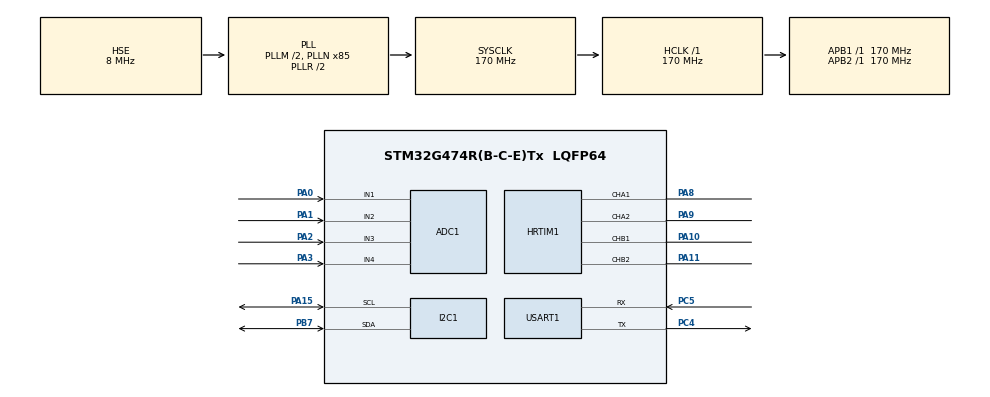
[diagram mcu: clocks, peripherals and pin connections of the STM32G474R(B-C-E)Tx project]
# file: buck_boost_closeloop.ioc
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ADC1.Channel-0\#ChannelRegularConversion=ADC_CHANNEL_1
ADC1.Channel-1\#ChannelRegularConversion=ADC_CHANNEL_2
ADC1.Channel-2\#ChannelRegularConversion=ADC_CHANNEL_3
ADC1.Channel-3\#ChannelRegularConversion=ADC_CHANNEL_4
ADC1.DMAContinuousRequests=ENABLE
ADC1.ExternalTrigConv=ADC_EXTERNALTRIG_HRTIM_TRG1
ADC1.NbrOfConversion=4
ADC1.NbrOfConversionFlag=1
ADC1.OffsetNumber-0\#ChannelRegularConversion=ADC_OFFSET_NONE
ADC1.OffsetNumber-1\#ChannelRegularConversion=ADC_OFFSET_NONE
ADC1.OffsetNumber-2\#ChannelRegularConversion=ADC_OFFSET_NONE
ADC1.OffsetNumber-3\#ChannelRegularConversion=ADC_OFFSET_NONE
ADC1.Rank-0\#ChannelRegularConversion=1
ADC1.Rank-1\#ChannelRegularConversion=2
ADC1.Rank-2\#ChannelRegularConversion=3
ADC1.Rank-3\#ChannelRegularConversion=4
ADC1.SamplingTime-0\#ChannelRegularConversion=ADC_SAMPLETIME_47CYCLES_5
ADC1.SamplingTime-1\#ChannelRegularConversion=ADC_SAMPLETIME_47CYCLES_5
ADC1.SamplingTime-2\#ChannelRegularConversion=ADC_SAMPLETIME_47CYCLES_5
ADC1.SamplingTime-3\#ChannelRegularConversion=ADC_SAMPLETIME_47CYCLES_5
ADC1.master=1
Dma.ADC1.0.Direction=DMA_PERIPH_TO_MEMORY
Dma.ADC1.0.EventEnable=DISABLE
Dma.ADC1.0.Instance=DMA1_Channel1
Dma.ADC1.0.MemDataAlignment=DMA_MDATAALIGN_HALFWORD
Dma.ADC1.0.MemInc=DMA_MINC_ENABLE
Dma.ADC1.0.Mode=DMA_CIRCULAR
Dma.ADC1.0.PeriphDataAlignment=DMA_PDATAALIGN_HALFWORD
Dma.ADC1.0.PeriphInc=DMA_PINC_DISABLE
Dma.ADC1.0.Polarity=HAL_DMAMUX_REQ_GEN_RISING
Dma.ADC1.0.Priority=DMA_PRIORITY_LOW
Dma.ADC1.0.RequestNumber=1
Dma.ADC1.0.SignalID=NONE
Dma.ADC1.0.SyncEnable=DISABLE
Dma.ADC1.0.SyncPolarity=HAL_DMAMUX_SYNC_NO_EVENT
Dma.ADC1.0.SyncRequestNumber=1
Dma.ADC1.0.SyncSignalID=NONE
Dma.Request0=ADC1
HRTIM1.ADCTrigger1_Source1=HRTIM_ADCTRIGGEREVENT13_TIMERA_CMP3
HRTIM1.ADCTrigger_Id1=HRTIM_ADCTRIGGER_1
HRTIM1.CompareUnit1-Output_TA1TA2=HRTIM_COMPAREUNIT_1
HRTIM1.CompareUnit1-Output_TB1TB2=HRTIM_COMPAREUNIT_1
HRTIM1.CompareUnit3-Output_TA1TA2=HRTIM_COMPAREUNIT_3
HRTIM1.CompareUnit3-Output_TB1TB2=HRTIM_COMPAREUNIT_3
HRTIM1.CompareValue1-Output_TA1TA2=2125
HRTIM1.CompareValue1-Output_TB1TB2=2125
HRTIM1.CompareValue3-Output_TA1TA2=1062
HRTIM1.CompareValue3-Output_TB1TB2=2125
HRTIM1.DeadTimeInsertion-Output_TA1TA2=HRTIM_TIMDEADTIMEINSERTION_ENABLED
HRTIM1.DeadTimeInsertion-Output_TB1TB2=HRTIM_TIMDEADTIMEINSERTION_ENABLED
HRTIM1.FallingValue-Output_TA1TA2=34
HRTIM1.FallingValue-Output_TB1TB2=34
HRTIM1.NumberADCTriggerSource1=1
HRTIM1.NumberResetSource1-Output_TA1TA2=1
HRTIM1.NumberResetSource1-Output_TB1TB2=1
HRTIM1.NumberSetSource1-Output_TA1TA2=1
HRTIM1.NumberSetSource1-Output_TB1TB2=1
HRTIM1.ORingUpdateSource_ADCTrigger1=HRTIM_ADCTRIGGERUPDATE_TIMER_A
HRTIM1.Periode_TA=4250
HRTIM1.Periode_TB=4250
HRTIM1.PreloadEnable-Output_TA1TA2=HRTIM_PRELOAD_ENABLED
HRTIM1.PreloadEnable-Output_TB1TB2=HRTIM_PRELOAD_ENABLED
HRTIM1.PrescalerDead-Output_TA1TA2=HRTIM_TIMDEADTIME_PRESCALERRATIO_DIV1
HRTIM1.PrescalerDead-Output_TB1TB2=HRTIM_TIMDEADTIME_PRESCALERRATIO_DIV1
HRTIM1.PrescalerRatio_TA=HRTIM_PRESCALERRATIO_DIV1
HRTIM1.PrescalerRatio_TB=HRTIM_PRESCALERRATIO_DIV1
HRTIM1.RepetitionUpdate-Output_TA1TA2=HRTIM_UPDATEONREPETITION_ENABLED
HRTIM1.RepetitionUpdate-Output_TB1TB2=HRTIM_UPDATEONREPETITION_ENABLED
HRTIM1.ResetOutput1_Source1-Output_TA1TA2=HRTIM_OUTPUTRESET_TIMCMP1
HRTIM1.ResetOutput1_Source1-Output_TB1TB2=HRTIM_OUTPUTRESET_TIMCMP1
HRTIM1.RisingValue-Output_TA1TA2=34
HRTIM1.RisingValue-Output_TB1TB2=34
HRTIM1.SetOutput1_Source1-Output_TA1TA2=HRTIM_OUTPUTSET_TIMCMP1
HRTIM1.SetOutput1_Source1-Output_TB1TB2=HRTIM_OUTPUTSET_TIMCMP1
HRTIM1.UpDownMode-Output_TA1TA2=HRTIM_TIMERUPDOWNMODE_UPDOWN
HRTIM1.UpDownMode-Output_TB1TB2=HRTIM_TIMERUPDOWNMODE_UPDOWN
I2C1.Timing=0x40B285C2
Mcu.Family=STM32G4
Mcu.Name=STM32G474R(B-C-E)Tx
Mcu.Package=LQFP64
NVIC.DMA1_Channel1_IRQn=true\:0\:0\:false\:false\:true\:false\:true\:true
NVIC.PriorityGroup=NVIC_PRIORITYGROUP_4
NVIC.USART1_IRQn=true\:0\:0\:false\:false\:true\:true\:true\:true
PA0.Mode=IN1-Single-Ended
PA0.Signal=ADC1_IN1
PA1.Mode=IN2-Single-Ended
PA1.Signal=ADC1_IN2
PA10.Mode=Output_TB1TB2
PA10.Signal=HRTIM1_CHB1
PA11.Mode=Output_TB1TB2
PA11.Signal=HRTIM1_CHB2
PA13.Mode=Serial_Wire
PA13.Signal=SYS_JTMS-SWDIO
PA14.Mode=Serial_Wire
PA14.Signal=SYS_JTCK-SWCLK
PA15.Mode=I2C
PA15.Signal=I2C1_SCL
PA2.Mode=IN3-Single-Ended
PA2.Signal=ADC1_IN3
PA3.Mode=IN4-Single-Ended
PA3.Signal=ADC1_IN4
PA8.Mode=Output_TA1TA2
PA8.Signal=HRTIM1_CHA1
PA9.Mode=Output_TA1TA2
PA9.Signal=HRTIM1_CHA2
PB7.Mode=I2C
PB7.Signal=I2C1_SDA
PC4.Mode=Asynchronous
PC4.Signal=USART1_TX
PC5.Mode=Asynchronous
PC5.Signal=USART1_RX
PF0-OSC_IN.Mode=HSE-External-Oscillator
PF0-OSC_IN.Signal=RCC_OSC_IN
PF1-OSC_OUT.Mode=HSE-External-Oscillator
PF1-OSC_OUT.Signal=RCC_OSC_OUT
ProjectManager.HeapSize=0x200
ProjectManager.StackSize=0x400
ProjectManager.TargetToolchain=CMake
RCC.ADC12Freq_Value=170000000
RCC.ADC345Freq_Value=170000000
RCC.AHBFreq_Value=170000000
RCC.APB1Freq_Value=170000000
RCC.APB1TimFreq_Value=170000000
RCC.APB2Freq_Value=170000000
RCC.APB2TimFreq_Value=170000000
RCC.CortexFreq_Value=170000000
RCC.EXTERNAL_CLOCK_VALUE=12288000
RCC.HCLKFreq_Value=170000000
RCC.HSE_VALUE=8000000
RCC.HSI48_VALUE=48000000
RCC.HSI_VALUE=16000000
RCC.LSE_VALUE=32768
RCC.PLLM=RCC_PLLM_DIV2
RCC.PLLN=85
RCC.PLLSourceVirtual=RCC_PLLSOURCE_HSE
RCC.SYSCLKFreq_VALUE=170000000
RCC.SYSCLKSource=RCC_SYSCLKSOURCE_PLLCLK
RCC.USBFreq_Value=170000000
RCC.VCOOutputFreq_Value=340000000
USART1.VirtualMode-Asynchronous=VM_ASYNC
VP_SYS_VS_DBSignals.Mode=DisableDeadBatterySignals
board=custom

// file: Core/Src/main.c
/* USER CODE BEGIN Header */
/**
  ******************************************************************************
  * @file           : main.c
  * @brief          : Main program body
  ******************************************************************************
  * @attention
  *
  * Copyright (c) 2026 STMicroelectronics.
  * All rights reserved.
  *
  * This software is licensed under terms that can be found in the LICENSE file
  * in the root directory of this software component.
  * If no LICENSE file comes with this software, it is provided AS-IS.
  *
  ******************************************************************************
  */
/* USER CODE END Header */
#include "main.h"

/* USER CODE BEGIN Includes */
#include "adc_sampler.h"
#include "hrtim_pwm.h"
#include "oled.h"
#include "power_pid.h"
#include "uart_debug.h"
/* USER CODE END Includes */

/* USER CODE BEGIN PTD */
/* ADC 通道下标，顺序必须与 CubeMX 的 Rank1..Rank4 一致 */
enum
{
  CH_VIN = 0,
  CH_VOUT,
  CH_IL,
  CH_IOUT
};
/* USER CODE END PTD */

/* USER CODE BEGIN PD */

/* 开关频率：HRTIM 170MHz / (2 * 4250)，Up-Down 模式 */
#define PWM_FREQ_HZ       20000.0f
/* 控制频率 = ADC 触发频率。上电后请用空闲 GPIO 实测确认，再据此整定 Ki。 */
#define CTRL_DT           (1.0f / PWM_FREQ_HZ)

/* 占空比边界（都是“该桥臂上管”的占空比） */
#define DUTY_MIN          0.02f
#define DUTY_MAX          0.98f
/* 直通桥臂：上管常通 */
#define DUTY_PASS         1.00f

/* 输出电压目标与软启动 */
#define VOUT_REF_DEFAULT  24.0f
#define VOUT_REF_MIN      3.0f
#define VOUT_REF_MAX      40.0f
#define SOFT_START_STEP   0.010f    /* V/控制周期，20kHz 下约 185V/s */
#define VIN_MIN_VALID     6.0f

/* PI：Ki 是“每控制周期”的积分系数，控制频率一变就要重新整定 */
#define PI_KP             0.050f
#define PI_KI             0.0015f

/* 保护阈值 */
#define OVP_LIMIT_V       42.0f
#define OCP_LIMIT_A       12.0f

/* ---------------------------------------------------------------------------
 * ADC 原始值 -> 工程量的线性拟合：   y = K * raw + b
 *
 * 板上没有标准电压/电流源，K 和 b 现在测不出来，所以下面先放着占位值
 * （K=1、b=0 表示"还没做任何标定"）。标定完成前，所有工程量以及依赖它们的
 * 保护阈值都不可信。
 *
 * 两点标定法：
 *   1) 上电运行，串口发 `c`，读出某个工作点的原始值 raw1，同时用万用表量真实值 V1；
 *   2) 换个工作点（两点尽量拉开），读出 raw2 和 V2；
 *   3) K = (V1 - V2) / (raw1 - raw2)
 *      b = V1 - K * raw1
 *   4) 把算出的 K / b 填回下面，并把 CALIBRATED 改成 1。
 * ------------------------------------------------------------------------- */
#define VIN_K             1.0f
#define VIN_B             0.0f
#define VOUT_K            1.0f
#define VOUT_B            0.0f
#define IL_K              1.0f
#define IL_B              0.0f
#define IOUT_K            1.0f
#define IOUT_B            0.0f

/*
 * 标定开关。K/b 还是占位值时闭环没有意义：反馈算错，PI 会把占空比推到极限。
 * 所以默认 0 —— 拒绝使能，只让你看原始值、记录标定点。
 * 标定完改成 1（也可以在构建时用 -DCALIBRATED=1 覆盖）。
 */
#ifndef CALIBRATED
#define CALIBRATED        0
#endif

/* 采样：帧数 1 表示一次触发的全部 Rank 算一帧 */
#define ADC_FRAME_COUNT   1U
#define ADC_CH_COUNT      4U
#define UART_TX_SIZE      256U

/* USER CODE END PD */

ADC_HandleTypeDef hadc1;
DMA_HandleTypeDef hdma_adc1;

HRTIM_HandleTypeDef hhrtim1;

I2C_HandleTypeDef hi2c1;

UART_HandleTypeDef huart1;

/* USER CODE BEGIN PV */

/*
 * ADC 通道顺序必须与 CubeMX 中 ADC1 的 Rank1..Rank4 一致：
 *   Rank1 PA0  IN1 VIN    Rank2 PA1  IN2 VOUT
 *   Rank3 PA2  IN3 IL     Rank4 PA3  IN4 IOUT
 *
 * 这里把 scale 固定成 1、offset 固定成 0，让 AdcSampler 只干两件事：
 * 取原始值、做一阶低通。原始值到工程量的拟合交给本文件里的 K/b（见 PD 区），
 * 这样"标定数据未知"在代码里是显式的，不会藏在一堆看着很权威的系数里。
 *
 * lpf_alpha = dt/(tau+dt)，dt = 50us（20kHz 控制周期）
 * 最后一个成员 lpf 由 AdcSampler_Init 按 lpf_alpha 重新初始化，这里填 0 即可。
 */
static const AdcSamplerChannel g_adc_ch[ADC_CH_COUNT] =
{
    { 1.0f, 0.0f, 0.048f, { 0 } },  /* VIN  低通 tau≈1ms   */
    { 1.0f, 0.0f, 0.091f, { 0 } },  /* VOUT 低通 tau≈0.5ms */
    { 1.0f, 0.0f, 0.333f, { 0 } },  /* IL   低通 tau≈0.1ms */
    { 1.0f, 0.0f, 0.091f, { 0 } }   /* IOUT 低通 tau≈0.5ms */
};

/*
 * 两个桥臂各占一个 HRTIM Timer，互补输出 + 死区（CubeMX 配 34 计数 = 200ns）。
 * configure_waveform=1 让模块把输出边沿改写成 Set=TIMPER / Reset=TIMCMP1：
 * CubeMX 生成的是 Set=Reset=TIMCMP1，直接用会得不到正常波形。
 */
static const HrtimPwmChannelCfg g_pwm_cfg[2] =
{
    /* Q1/Q2 降压桥臂 */
    { HRTIM_TIMERINDEX_TIMER_A, HRTIM_TIMERID_TIMER_A,
      HRTIM_OUTPUT_TA1, HRTIM_OUTPUT_TA2, 1U, DUTY_MIN, DUTY_MIN, DUTY_MAX },
    /* Q3/Q4 升压桥臂 */
    { HRTIM_TIMERINDEX_TIMER_B, HRTIM_TIMERID_TIMER_B,
      HRTIM_OUTPUT_TB1, HRTIM_OUTPUT_TB2, 1U, DUTY_MIN, DUTY_MIN, DUTY_MAX }
};

static uint16_t g_adc_dma[ADC_FRAME_COUNT * ADC_CH_COUNT];
static uint8_t g_uart_tx[UART_TX_SIZE];

static AdcSampler g_adc;
static HrtimPwm g_pwm;
static UartDebug g_uart;
static Oled g_oled;
static Pid g_vout_pi;

/* 控制回调与主循环共享的状态，全部用 32 位以内类型，单次访问即原子 */
static volatile float g_vin_raw;   /* 低通后的 ADC 原始值，标定时读这几个 */
static volatile float g_vout_raw;
static volatile float g_il_raw;
static volatile float g_iout_raw;
static volatile float g_vin;       /* 用 K/b 拟合出来的工程量 */
static volatile float g_vout;
static volatile float g_il;
static volatile float g_iout;
static volatile float g_vout_ref = VOUT_REF_DEFAULT;
static volatile uint32_t g_isr_count;
static volatile uint8_t g_run;    /* 0=封波 1=运行 */
static volatile uint8_t g_cmd;    /* 主循环下请求，统一在控制回调里执行 */
static float g_ref_ramp;          /* 软启动给定，只在控制回调里改 */
static uint32_t g_disp_tick;

/* USER CODE END PV */

void SystemClock_Config(void);
static void MX_GPIO_Init(void);
static void MX_DMA_Init(void);
static void MX_ADC1_Init(void);
static void MX_HRTIM1_Init(void);
static void MX_I2C1_Init(void);
static void MX_USART1_UART_Init(void);
/* USER CODE BEGIN PFP */
static void bb_start(void);
static void bb_stop(void);
static void bb_control(void);
static void poll_command(void);
static void oled_update(void);
static void print_telemetry(void);
static void print_calibration(void);
/* USER CODE END PFP */

int main(void)
{

  /* MCU Configuration--------------------------------------------------------*/

  /* Reset of all peripherals, Initializes the Flash interface and the Systick. */
  HAL_Init();

  /* Configure the system clock */
  SystemClock_Config();

  /* Initialize all configured peripherals */
  MX_GPIO_Init();
  MX_DMA_Init();
  MX_ADC1_Init();
  MX_HRTIM1_Init();
  MX_I2C1_Init();
  MX_USART1_UART_Init();
  /* USER CODE BEGIN 2 */

  /* 1) 串口调试。USART1 全局中断和优先级由 CubeMX 生成在 HAL_UART_MspInit 里，
        这里只把模块接上句柄和缓冲区。 */
  UartDebug_Init(&g_uart, &huart1, g_uart_tx, UART_TX_SIZE);

  /* 2) PWM：写安全占空比 -> 同步预装载 -> 起计数器 -> 立刻封波。
        计数器保持运行，ADC 触发和控制节拍才不会断。 */
  HrtimPwm_Init(&g_pwm, &hhrtim1, g_pwm_cfg, 2U);
  HrtimPwm_SetDuty(&g_pwm, 0U, DUTY_MIN);
  HrtimPwm_SetDuty(&g_pwm, 1U, DUTY_MIN);
  HrtimPwm_SyncPreload(&g_pwm);
  HrtimPwm_StartAll(&g_pwm);
  HrtimPwm_DisableOutputs(&g_pwm);

  /* 3) 控制器与显示 */
  Pid_Init(&g_vout_pi, PI_KP, PI_KI, DUTY_MIN, DUTY_MAX);

  Oled_Init(&g_oled, &hi2c1, OLED_ADDR_DEFAULT);
  Oled_ShowString(&g_oled, 0U, 0U, "4SW Buck-Boost");
  Oled_ShowString(&g_oled, 0U, 6U, "STOP");

  /* 4) ADC 最后启动：校准必须在启动 DMA 之前，控制回调也从这里开始跑 */
  HAL_ADCEx_Calibration_Start(&hadc1, ADC_SINGLE_ENDED);
  AdcSampler_Init(&g_adc, &hadc1, g_adc_dma, ADC_FRAME_COUNT, ADC_CH_COUNT, g_adc_ch);
  AdcSampler_Start(&g_adc);

#if (CALIBRATED == 0)
  UartDebug_WriteString(&g_uart,
                        "\r\n[buck-boost closeloop] K/b 未标定，闭环已锁定。\r\n"
                        "  发 c 记录两点原始值，算好 K/b 后把 main.c 的 CALIBRATED 改成 1。\r\n"
                        "  cmds: c d + -   (e 暂不可用)\r\n");
#else
  UartDebug_WriteString(&g_uart,
                        "\r\n[buck-boost closeloop] ready. cmds: e d + - c\r\n");
#endif

  /* USER CODE END 2 */

  /* Infinite loop */
  while (1)
  {

    /* USER CODE BEGIN 3 */
    /* 主循环只做非实时的事：串口收发、命令解析、刷屏和遥测。
       控制环在 ADC DMA 完成回调里，不在这里。 */
    UartDebug_Process(&g_uart);
    poll_command();

    if ((HAL_GetTick() - g_disp_tick) >= 200U)
    {
      g_disp_tick = HAL_GetTick();
      oled_update();
      print_telemetry();
    }
  }
  /* USER CODE END 3 */
}

void SystemClock_Config(void)
{
  RCC_OscInitTypeDef RCC_OscInitStruct = {0};
  RCC_ClkInitTypeDef RCC_ClkInitStruct = {0};

  /** Configure the main internal regulator output voltage
  */
  HAL_PWREx_ControlVoltageScaling(PWR_REGULATOR_VOLTAGE_SCALE1_BOOST);

  /** Initializes the RCC Oscillators according to the specified parameters
  * in the RCC_OscInitTypeDef structure.
  */
  RCC_OscInitStruct.OscillatorType = RCC_OSCILLATORTYPE_HSE;
  RCC_OscInitStruct.HSEState = RCC_HSE_ON;
  RCC_OscInitStruct.PLL.PLLState = RCC_PLL_ON;
  RCC_OscInitStruct.PLL.PLLSource = RCC_PLLSOURCE_HSE;
  RCC_OscInitStruct.PLL.PLLM = RCC_PLLM_DIV2;
  RCC_OscInitStruct.PLL.PLLN = 85;
  RCC_OscInitStruct.PLL.PLLP = RCC_PLLP_DIV2;
  RCC_OscInitStruct.PLL.PLLQ = RCC_PLLQ_DIV2;
  RCC_OscInitStruct.PLL.PLLR = RCC_PLLR_DIV2;
  if (HAL_RCC_OscConfig(&RCC_OscInitStruct) != HAL_OK)
  {
    Error_Handler();
  }

  /** Initializes the CPU, AHB and APB buses clocks
  */
  RCC_ClkInitStruct.ClockType = RCC_CLOCKTYPE_HCLK|RCC_CLOCKTYPE_SYSCLK
                              |RCC_CLOCKTYPE_PCLK1|RCC_CLOCKTYPE_PCLK2;
  RCC_ClkInitStruct.SYSCLKSource = RCC_SYSCLKSOURCE_PLLCLK;
  RCC_ClkInitStruct.AHBCLKDivider = RCC_SYSCLK_DIV1;
  RCC_ClkInitStruct.APB1CLKDivider = RCC_HCLK_DIV1;
  RCC_ClkInitStruct.APB2CLKDivider = RCC_HCLK_DIV1;

  if (HAL_RCC_ClockConfig(&RCC_ClkInitStruct, FLASH_LATENCY_4) != HAL_OK)
  {
    Error_Handler();
  }
}

static void MX_ADC1_Init(void)
{

  ADC_MultiModeTypeDef multimode = {0};
  ADC_ChannelConfTypeDef sConfig = {0};

  /** Common config
  */
  hadc1.Instance = ADC1;
  hadc1.Init.ClockPrescaler = ADC_CLOCK_SYNC_PCLK_DIV4;
  hadc1.Init.Resolution = ADC_RESOLUTION_12B;
  hadc1.Init.DataAlign = ADC_DATAALIGN_RIGHT;
  hadc1.Init.GainCompensation = 0;
  hadc1.Init.ScanConvMode = ADC_SCAN_ENABLE;
  hadc1.Init.EOCSelection = ADC_EOC_SINGLE_CONV;
  hadc1.Init.LowPowerAutoWait = DISABLE;
  hadc1.Init.ContinuousConvMode = DISABLE;
  hadc1.Init.NbrOfConversion = 4;
  hadc1.Init.DiscontinuousConvMode = DISABLE;
  hadc1.Init.ExternalTrigConv = ADC_EXTERNALTRIG_HRTIM_TRG1;
  hadc1.Init.ExternalTrigConvEdge = ADC_EXTERNALTRIGCONVEDGE_RISING;
  hadc1.Init.DMAContinuousRequests = ENABLE;
  hadc1.Init.Overrun = ADC_OVR_DATA_PRESERVED;
  hadc1.Init.OversamplingMode = DISABLE;
  if (HAL_ADC_Init(&hadc1) != HAL_OK)
  {
    Error_Handler();
  }

  /** Configure the ADC multi-mode
  */
  multimode.Mode = ADC_MODE_INDEPENDENT;
  if (HAL_ADCEx_MultiModeConfigChannel(&hadc1, &multimode) != HAL_OK)
  {
    Error_Handler();
  }

  /** Configure Regular Channel
  */
  sConfig.Channel = ADC_CHANNEL_1;
  sConfig.Rank = ADC_REGULAR_RANK_1;
  sConfig.SamplingTime = ADC_SAMPLETIME_47CYCLES_5;
  sConfig.SingleDiff = ADC_SINGLE_ENDED;
  sConfig.OffsetNumber = ADC_OFFSET_NONE;
  sConfig.Offset = 0;
  if (HAL_ADC_ConfigChannel(&hadc1, &sConfig) != HAL_OK)
  {
    Error_Handler();
  }

  /** Configure Regular Channel
  */
  sConfig.Channel = ADC_CHANNEL_2;
  sConfig.Rank = ADC_REGULAR_RANK_2;
  if (HAL_ADC_ConfigChannel(&hadc1, &sConfig) != HAL_OK)
  {
    Error_Handler();
  }

  /** Configure Regular Channel
  */
  sConfig.Channel = ADC_CHANNEL_3;
  sConfig.Rank = ADC_REGULAR_RANK_3;
  if (HAL_ADC_ConfigChannel(&hadc1, &sConfig) != HAL_OK)
  {
    Error_Handler();
  }

  /** Configure Regular Channel
  */
  sConfig.Channel = ADC_CHANNEL_4;
  sConfig.Rank = ADC_REGULAR_RANK_4;
  if (HAL_ADC_ConfigChannel(&hadc1, &sConfig) != HAL_OK)
  {
    Error_Handler();
  }

}

static void MX_HRTIM1_Init(void)
{

  HRTIM_ADCTriggerCfgTypeDef pADCTriggerCfg = {0};
  HRTIM_TimeBaseCfgTypeDef pTimeBaseCfg = {0};
  HRTIM_TimerCtlTypeDef pTimerCtl = {0};
  HRTIM_TimerCfgTypeDef pTimerCfg = {0};
  HRTIM_CompareCfgTypeDef pCompareCfg = {0};
  HRTIM_DeadTimeCfgTypeDef pDeadTimeCfg = {0};
  HRTIM_OutputCfgTypeDef pOutputCfg = {0};

  hhrtim1.Instance = HRTIM1;
  hhrtim1.Init.HRTIMInterruptResquests = HRTIM_IT_NONE;
  hhrtim1.Init.SyncOptions = HRTIM_SYNCOPTION_NONE;
  if (HAL_HRTIM_Init(&hhrtim1) != HAL_OK)
  {
    Error_Handler();
  }
  if (HAL_HRTIM_DLLCalibrationStart(&hhrtim1, HRTIM_CALIBRATIONRATE_3) != HAL_OK)
  {
    Error_Handler();
  }
  if (HAL_HRTIM_PollForDLLCalibration(&hhrtim1, 10) != HAL_OK)
  {
    Error_Handler();
  }
  pADCTriggerCfg.UpdateSource = HRTIM_ADCTRIGGERUPDATE_TIMER_A;
  pADCTriggerCfg.Trigger = HRTIM_ADCTRIGGEREVENT13_TIMERA_CMP3;
  if (HAL_HRTIM_ADCTriggerConfig(&hhrtim1, HRTIM_ADCTRIGGER_1, &pADCTriggerCfg) != HAL_OK)
  {
    Error_Handler();
  }
  if (HAL_HRTIM_ADCPostScalerConfig(&hhrtim1, HRTIM_ADCTRIGGER_1, 0x0) != HAL_OK)
  {
    Error_Handler();
  }
  pTimeBaseCfg.Period = 4250;
  pTimeBaseCfg.RepetitionCounter = 0x00;
  pTimeBaseCfg.PrescalerRatio = HRTIM_PRESCALERRATIO_DIV1;
  pTimeBaseCfg.Mode = HRTIM_MODE_CONTINUOUS;
  if (HAL_HRTIM_TimeBaseConfig(&hhrtim1, HRTIM_TIMERINDEX_TIMER_A, &pTimeBaseCfg) != HAL_OK)
  {
    Error_Handler();
  }
  pTimerCtl.UpDownMode = HRTIM_TIMERUPDOWNMODE_UPDOWN;
  pTimerCtl.GreaterCMP3 = HRTIM_TIMERGTCMP3_EQUAL;
  pTimerCtl.GreaterCMP1 = HRTIM_TIMERGTCMP1_EQUAL;
  pTimerCtl.DualChannelDacEnable = HRTIM_TIMER_DCDE_DISABLED;
  if (HAL_HRTIM_WaveformTimerControl(&hhrtim1, HRTIM_TIMERINDEX_TIMER_A, &pTimerCtl) != HAL_OK)
  {
    Error_Handler();
  }
  if (HAL_HRTIM_RollOverModeConfig(&hhrtim1, HRTIM_TIMERINDEX_TIMER_A, HRTIM_TIM_FEROM_BOTH|HRTIM_TIM_BMROM_BOTH
                              |HRTIM_TIM_ADROM_BOTH|HRTIM_TIM_OUTROM_BOTH
                              |HRTIM_TIM_ROM_BOTH) != HAL_OK)
  {
    Error_Handler();
  }
  pTimerCfg.InterruptRequests = HRTIM_TIM_IT_NONE;
  pTimerCfg.DMARequests = HRTIM_TIM_DMA_NONE;
  pTimerCfg.DMASrcAddress = 0x0000;
  pTimerCfg.DMADstAddress = 0x0000;
  pTimerCfg.DMASize = 0x1;
  pTimerCfg.HalfModeEnable = HRTIM_HALFMODE_DISABLED;
  pTimerCfg.InterleavedMode = HRTIM_INTERLEAVED_MODE_DISABLED;
  pTimerCfg.StartOnSync = HRTIM_SYNCSTART_DISABLED;
  pTimerCfg.ResetOnSync = HRTIM_SYNCRESET_DISABLED;
  pTimerCfg.DACSynchro = HRTIM_DACSYNC_NONE;
  pTimerCfg.PreloadEnable = HRTIM_PRELOAD_ENABLED;
  pTimerCfg.UpdateGating = HRTIM_UPDATEGATING_INDEPENDENT;
  pTimerCfg.BurstMode = HRTIM_TIMERBURSTMODE_MAINTAINCLOCK;
  pTimerCfg.RepetitionUpdate = HRTIM_UPDATEONREPETITION_ENABLED;
  pTimerCfg.PushPull = HRTIM_TIMPUSHPULLMODE_DISABLED;
  pTimerCfg.FaultEnable = HRTIM_TIMFAULTENABLE_NONE;
  pTimerCfg.FaultLock = HRTIM_TIMFAULTLOCK_READWRITE;
  pTimerCfg.DeadTimeInsertion = HRTIM_TIMDEADTIMEINSERTION_ENABLED;
  pTimerCfg.DelayedProtectionMode = HRTIM_TIMER_A_B_C_DELAYEDPROTECTION_DISABLED;
  pTimerCfg.UpdateTrigger = HRTIM_TIMUPDATETRIGGER_NONE;
  pTimerCfg.ResetTrigger = HRTIM_TIMRESETTRIGGER_NONE;
  pTimerCfg.ResetUpdate = HRTIM_TIMUPDATEONRESET_DISABLED;
  pTimerCfg.ReSyncUpdate = HRTIM_TIMERESYNC_UPDATE_UNCONDITIONAL;
  if (HAL_HRTIM_WaveformTimerConfig(&hhrtim1, HRTIM_TIMERINDEX_TIMER_A, &pTimerCfg) != HAL_OK)
  {
    Error_Handler();
  }
  if (HAL_HRTIM_WaveformTimerConfig(&hhrtim1, HRTIM_TIMERINDEX_TIMER_B, &pTimerCfg) != HAL_OK)
  {
    Error_Handler();
  }
  pCompareCfg.CompareValue = 2125;
  if (HAL_HRTIM_WaveformCompareConfig(&hhrtim1, HRTIM_TIMERINDEX_TIMER_A, HRTIM_COMPAREUNIT_1, &pCompareCfg) != HAL_OK)
  {
    Error_Handler();
  }
  pCompareCfg.CompareValue = 1062;
  if (HAL_HRTIM_WaveformCompareConfig(&hhrtim1, HRTIM_TIMERINDEX_TIMER_A, HRTIM_COMPAREUNIT_3, &pCompareCfg) != HAL_OK)
  {
    Error_Handler();
  }
  pDeadTimeCfg.Prescaler = HRTIM_TIMDEADTIME_PRESCALERRATIO_DIV1;
  pDeadTimeCfg.RisingValue = 34;
  pDeadTimeCfg.RisingSign = HRTIM_TIMDEADTIME_RISINGSIGN_POSITIVE;
  pDeadTimeCfg.RisingLock = HRTIM_TIMDEADTIME_RISINGLOCK_WRITE;
  pDeadTimeCfg.RisingSignLock = HRTIM_TIMDEADTIME_RISINGSIGNLOCK_WRITE;
  pDeadTimeCfg.FallingValue = 34;
  pDeadTimeCfg.FallingSign = HRTIM_TIMDEADTIME_FALLINGSIGN_POSITIVE;
  pDeadTimeCfg.FallingLock = HRTIM_TIMDEADTIME_FALLINGLOCK_WRITE;
  pDeadTimeCfg.FallingSignLock = HRTIM_TIMDEADTIME_FALLINGSIGNLOCK_WRITE;
  if (HAL_HRTIM_DeadTimeConfig(&hhrtim1, HRTIM_TIMERINDEX_TIMER_A, &pDeadTimeCfg) != HAL_OK)
  {
    Error_Handler();
  }
  if (HAL_HRTIM_DeadTimeConfig(&hhrtim1, HRTIM_TIMERINDEX_TIMER_B, &pDeadTimeCfg) != HAL_OK)
  {
    Error_Handler();
  }
  pOutputCfg.Polarity = HRTIM_OUTPUTPOLARITY_HIGH;
  pOutputCfg.SetSource = HRTIM_OUTPUTSET_TIMCMP1;
  pOutputCfg.ResetSource = HRTIM_OUTPUTRESET_TIMCMP1;
  pOutputCfg.IdleMode = HRTIM_OUTPUTIDLEMODE_NONE;
  pOutputCfg.IdleLevel = HRTIM_OUTPUTIDLELEVEL_INACTIVE;
  pOutputCfg.FaultLevel = HRTIM_OUTPUTFAULTLEVEL_NONE;
  pOutputCfg.ChopperModeEnable = HRTIM_OUTPUTCHOPPERMODE_DISABLED;
  pOutputCfg.BurstModeEntryDelayed = HRTIM_OUTPUTBURSTMODEENTRY_REGULAR;
  if (HAL_HRTIM_WaveformOutputConfig(&hhrtim1, HRTIM_TIMERINDEX_TIMER_A, HRTIM_OUTPUT_TA1, &pOutputCfg) != HAL_OK)
  {
    Error_Handler();
  }
  if (HAL_HRTIM_WaveformOutputConfig(&hhrtim1, HRTIM_TIMERINDEX_TIMER_B, HRTIM_OUTPUT_TB1, &pOutputCfg) != HAL_OK)
  {
    Error_Handler();
  }
  pOutputCfg.SetSource = HRTIM_OUTPUTSET_NONE;
  pOutputCfg.ResetSource = HRTIM_OUTPUTRESET_NONE;
  if (HAL_HRTIM_WaveformOutputConfig(&hhrtim1, HRTIM_TIMERINDEX_TIMER_A, HRTIM_OUTPUT_TA2, &pOutputCfg) != HAL_OK)
  {
    Error_Handler();
  }
  if (HAL_HRTIM_WaveformOutputConfig(&hhrtim1, HRTIM_TIMERINDEX_TIMER_B, HRTIM_OUTPUT_TB2, &pOutputCfg) != HAL_OK)
  {
    Error_Handler();
  }
  if (HAL_HRTIM_TimeBaseConfig(&hhrtim1, HRTIM_TIMERINDEX_TIMER_B, &pTimeBaseCfg) != HAL_OK)
  {
    Error_Handler();
  }
  if (HAL_HRTIM_WaveformTimerControl(&hhrtim1, HRTIM_TIMERINDEX_TIMER_B, &pTimerCtl) != HAL_OK)
  {
    Error_Handler();
  }
  if (HAL_HRTIM_RollOverModeConfig(&hhrtim1, HRTIM_TIMERINDEX_TIMER_B, HRTIM_TIM_FEROM_BOTH|HRTIM_TIM_BMROM_BOTH
                              |HRTIM_TIM_ADROM_BOTH|HRTIM_TIM_OUTROM_BOTH
                              |HRTIM_TIM_ROM_BOTH) != HAL_OK)
  {
    Error_Handler();
  }
  pCompareCfg.CompareValue = 2125;
  if (HAL_HRTIM_WaveformCompareConfig(&hhrtim1, HRTIM_TIMERINDEX_TIMER_B, HRTIM_COMPAREUNIT_1, &pCompareCfg) != HAL_OK)
  {
    Error_Handler();
  }
  if (HAL_HRTIM_WaveformCompareConfig(&hhrtim1, HRTIM_TIMERINDEX_TIMER_B, HRTIM_COMPAREUNIT_3, &pCompareCfg) != HAL_OK)
  {
    Error_Handler();
  }
  HAL_HRTIM_MspPostInit(&hhrtim1);

}

static void MX_I2C1_Init(void)
{

  hi2c1.Instance = I2C1;
  hi2c1.Init.Timing = 0x40B285C2;
  hi2c1.Init.OwnAddress1 = 0;
  hi2c1.Init.AddressingMode = I2C_ADDRESSINGMODE_7BIT;
  hi2c1.Init.DualAddressMode = I2C_DUALADDRESS_DISABLE;
  hi2c1.Init.OwnAddress2 = 0;
  hi2c1.Init.OwnAddress2Masks = I2C_OA2_NOMASK;
  hi2c1.Init.GeneralCallMode = I2C_GENERALCALL_DISABLE;
  hi2c1.Init.NoStretchMode = I2C_NOSTRETCH_DISABLE;
  if (HAL_I2C_Init(&hi2c1) != HAL_OK)
  {
    Error_Handler();
  }

  /** Configure Analogue filter
  */
  if (HAL_I2CEx_ConfigAnalogFilter(&hi2c1, I2C_ANALOGFILTER_ENABLE) != HAL_OK)
  {
    Error_Handler();
  }

  /** Configure Digital filter
  */
  if (HAL_I2CEx_ConfigDigitalFilter(&hi2c1, 0) != HAL_OK)
  {
    Error_Handler();
  }

}

static void MX_USART1_UART_Init(void)
{

  huart1.Instance = USART1;
  huart1.Init.BaudRate = 115200;
  huart1.Init.WordLength = UART_WORDLENGTH_8B;
  huart1.Init.StopBits = UART_STOPBITS_1;
  huart1.Init.Parity = UART_PARITY_NONE;
  huart1.Init.Mode = UART_MODE_TX_RX;
  huart1.Init.HwFlowCtl = UART_HWCONTROL_NONE;
  huart1.Init.OverSampling = UART_OVERSAMPLING_16;
  huart1.Init.OneBitSampling = UART_ONE_BIT_SAMPLE_DISABLE;
  huart1.Init.ClockPrescaler = UART_PRESCALER_DIV1;
  huart1.AdvancedInit.AdvFeatureInit = UART_ADVFEATURE_NO_INIT;
  if (HAL_UART_Init(&huart1) != HAL_OK)
  {
    Error_Handler();
  }
  if (HAL_UARTEx_SetTxFifoThreshold(&huart1, UART_TXFIFO_THRESHOLD_1_8) != HAL_OK)
  {
    Error_Handler();
  }
  if (HAL_UARTEx_SetRxFifoThreshold(&huart1, UART_RXFIFO_THRESHOLD_1_8) != HAL_OK)
  {
    Error_Handler();
  }
  if (HAL_UARTEx_DisableFifoMode(&huart1) != HAL_OK)
  {
    Error_Handler();
  }

}

static void MX_DMA_Init(void)
{

  /* DMA controller clock enable */
  __HAL_RCC_DMAMUX1_CLK_ENABLE();
  __HAL_RCC_DMA1_CLK_ENABLE();

  /* DMA interrupt init */
  /* DMA1_Channel1_IRQn interrupt configuration */
  HAL_NVIC_SetPriority(DMA1_Channel1_IRQn, 0, 0);
  HAL_NVIC_EnableIRQ(DMA1_Channel1_IRQn);

}

static void MX_GPIO_Init(void)
{

  /* GPIO Ports Clock Enable */
  __HAL_RCC_GPIOF_CLK_ENABLE();
  __HAL_RCC_GPIOA_CLK_ENABLE();
  __HAL_RCC_GPIOC_CLK_ENABLE();
  __HAL_RCC_GPIOB_CLK_ENABLE();

}

/* USER CODE BEGIN 4 */

/* ---------------------------------------------------------------------------
 * 四开关 Buck-Boost 控制
 *
 *   Vin --Q1-- SW1 --L-- SW2 --Q3-- Vout
 *                |           |
 *               Q2          Q4
 *                |           |
 *               GND         GND
 *
 * 两个桥臂都是互补输出 + 死区。“占空比”统一指该桥臂上管的导通占空比：
 *   dA = Q1 占空比（Timer A / CMP1）,  dB = Q3 占空比（Timer B / CMP1）
 *
 * 单模式：两个桥臂始终同占空比 d，则
 *   vout = vin * d / (1 - d)     =>   稳态  d = vout / (vin + vout)
 * d > 0.5 升压、d < 0.5 降压，一套 PI 覆盖全范围，控制量全程连续，
 * 不需要区间判断，也不会在边界跳变。
 * 代价是两个桥臂一直在开关，效率低于“降压区只开 buck 桥臂”的分区方案。
 * 要提效率时按 vin/vref 分三个区间分别映射占空比，并给每个区间单独整定增益。
 * ------------------------------------------------------------------------- */

static void bb_start(void)
{
#if (CALIBRATED == 0)
  /* K/b 还是占位值，反馈量没有物理意义，闭环不能使能。
     提示信息由命令处理在主循环里给，这里只安静地拒绝（本函数在中断里跑）。 */
  return;
#else
  Pid_Reset(&g_vout_pi);
  g_ref_ramp = 0.0f;

  /* 无扰使能：用稳态关系把 PI 输出摆到工作点附近，避免从 0 慢慢积分 */
  if (g_vin > 0.0f)
  {
    Pid_SetOutput(&g_vout_pi, g_vout_ref / (g_vin + g_vout_ref));
  }

  HrtimPwm_EnableOutputs(&g_pwm);
  g_run = 1U;
#endif
}

static void bb_stop(void)
{
  g_run = 0U;
  g_ref_ramp = 0.0f;

  HrtimPwm_SetDuty(&g_pwm, 0U, DUTY_MIN);
  HrtimPwm_SetDuty(&g_pwm, 1U, DUTY_MIN);
  HrtimPwm_DisableOutputs(&g_pwm);
}

static void bb_control(void)
{
  float u;

  g_isr_count++;

  /* 保护：任一越限立即封波。只关输出、不停计数器，控制回调继续跑，
     这样才能自己判断故障有没有消失。 */
  if ((g_vout > OVP_LIMIT_V) || (g_il > OCP_LIMIT_A) || (g_il < -OCP_LIMIT_A))
  {
    if (g_run != 0U)
    {
      bb_stop();
    }
    return;
  }

  /* 主循环下发的使能/关断请求在这里执行，避免两个上下文同时改状态 */
  if (g_cmd != 0U)
  {
    uint8_t cmd = g_cmd;
    g_cmd = 0U;

    if (cmd == 1U)
    {
      bb_start();
    }
    else
    {
      bb_stop();
    }
  }

  if ((g_run == 0U) || (g_vin < VIN_MIN_VALID))
  {
    return;
  }

  /* 软启动：给定按固定步长朝目标爬 */
  if (g_ref_ramp < g_vout_ref)
  {
    g_ref_ramp += SOFT_START_STEP;
    if (g_ref_ramp > g_vout_ref)
    {
      g_ref_ramp = g_vout_ref;
    }
  }
  else if (g_ref_ramp > g_vout_ref)
  {
    g_ref_ramp -= SOFT_START_STEP;
    if (g_ref_ramp < g_vout_ref)
    {
      g_ref_ramp = g_vout_ref;
    }
  }

  /* 一个 PI 出控制量，两个桥臂同占空比 */
  u = Pid_Update(&g_vout_pi, g_ref_ramp, g_vout);
  HrtimPwm_SetDuty(&g_pwm, 0U, u);
  HrtimPwm_SetDuty(&g_pwm, 1U, u);
}

/* ---------------------------------------------------------------------------
 * 串口命令：e=使能  d=关断  +=抬高目标  -=降低目标  c=打印标定原始值
 * ------------------------------------------------------------------------- */
static void poll_command(void)
{
  uint8_t c;

  /* 直接读寄存器轮询，不用 HAL_UART_Receive：不阻塞，也顺手清掉 ORE */
  while ((huart1.Instance->ISR & USART_ISR_RXNE_RXFNE) != 0U)
  {
    c = (uint8_t)(huart1.Instance->RDR & 0xFFU);

    switch (c)
    {
      case 'e':
      case 'E':
#if (CALIBRATED == 0)
        UartDebug_WriteString(&g_uart,
                              "拒绝使能：K/b 未标定。先发 c 记两点原始值，"
                              "按 main.c PD 区算 K/b，再把 CALIBRATED 改成 1\r\n");
#else
        g_cmd = 1U;
        UartDebug_WriteString(&g_uart, "enable\r\n");
#endif
        break;

      case 'd':
      case 'D':
        g_cmd = 2U;
        UartDebug_WriteString(&g_uart, "disable\r\n");
        break;

      case 'c':
      case 'C':
        print_calibration();
        break;

      case '+':
        if (g_vout_ref < VOUT_REF_MAX)
        {
          g_vout_ref += 1.0f;
        }
        break;

      case '-':
        if (g_vout_ref > VOUT_REF_MIN)
        {
          g_vout_ref -= 1.0f;
        }
        break;

      default:
        UartDebug_WriteString(&g_uart, "cmds: e d + - c\r\n");
        break;
    }
  }
}

/* ---------------------------------------------------------------------------
 * 显示与遥测
 * ------------------------------------------------------------------------- */
static void oled_update(void)
{
  /* 8x16 字库，一个字符 8 像素宽，行高两页 */
  Oled_ShowString(&g_oled, 0U, 0U, "4SW BB closeloop");

  /* 上面两行是拟合后的工程量 */
  Oled_ShowString(&g_oled, 0U, 2U, "Vo");
  Oled_ShowFloat(&g_oled, 24U, 2U, g_vout, 5U, 1U);
  Oled_ShowString(&g_oled, 72U, 2U, "Vi");
  Oled_ShowFloat(&g_oled, 88U, 2U, g_vin, 4U, 1U);

  /* 这一行是原始值，标定时照抄 Ro */
  Oled_ShowString(&g_oled, 0U, 4U, "Ro");
  Oled_ShowUInt(&g_oled, 24U, 4U, (uint32_t)g_vout_raw, 5U);
  Oled_ShowString(&g_oled, 72U, 4U, "Ri");
  Oled_ShowUInt(&g_oled, 88U, 4U, (uint32_t)g_vin_raw, 4U);

  Oled_ShowString(&g_oled, 0U, 6U, (g_run != 0U) ? "RUN " : "STOP");
#if (CALIBRATED == 0)
  Oled_ShowString(&g_oled, 48U, 6U, "CAL:NO");
#else
  Oled_ShowString(&g_oled, 48U, 6U, "Ref");
  Oled_ShowFloat(&g_oled, 80U, 6U, g_vout_ref, 5U, 1U);
#endif
}

static void print_telemetry(void)
{
  UartDebug_Printf(&g_uart,
                   "%s Vo=%.2f Vi=%.2f Ii=%.2f Io=%.2f Ref=%.1f "
                   "Ro=%.0f Ri=%.0f isr=%lu\r\n",
                   (g_run != 0U) ? "RUN " : "STOP",
                   (double)g_vout, (double)g_vin, (double)g_il,
                   (double)g_iout, (double)g_vout_ref,
                   (double)g_vout_raw, (double)g_vin_raw,
                   (unsigned long)g_isr_count);
}

/*
 * 标定辅助：打印各通道当前的原始值（已低通）。
 * 配合万用表读数用两点法算 K/b，见文件上方 PD 区。
 */
static void print_calibration(void)
{
  UartDebug_Printf(&g_uart,
                   "CAL raw: VIN=%.1f VOUT=%.1f IL=%.1f IOUT=%.1f\r\n",
                   (double)g_vin_raw, (double)g_vout_raw, (double)g_il_raw,
                   (double)g_iout_raw);
}

/* ---------------------------------------------------------------------------
 * 中断与回调
 * ------------------------------------------------------------------------- */

/*
 * 控制环本体：ADC 循环 DMA 每搬完一帧调用一次，频率等于 HRTIM 的 ADC 触发频率。
 * 这里不使用 HRTIM 重复中断，控制节拍完全由采样决定。
 * 帧数为 1，所以刚完成的帧号固定是 0。不能用 AdcSampler_Update：循环 DMA 在
 * 置起完成标志时已把 CNDTR 重装为初值，它每次都判定“无新帧”。
 */
void HAL_ADC_ConvCpltCallback(ADC_HandleTypeDef *hadc)
{
  float raw;

  if (hadc->Instance != ADC1)
  {
    return;
  }

  AdcSampler_UpdateFrame(&g_adc, 0U);

  /* 采样通道的 scale/offset 固定为 1/0，所以这里拿到的是低通后的 ADC 原始值，
     再用 K/b 拟合成工程量。原始值同时留一份，标定和显示要用。 */
  raw = AdcSampler_Get(&g_adc, CH_VIN);
  g_vin_raw = raw;
  g_vin = VIN_K * raw + VIN_B;

  raw = AdcSampler_Get(&g_adc, CH_VOUT);
  g_vout_raw = raw;
  g_vout = VOUT_K * raw + VOUT_B;

  raw = AdcSampler_Get(&g_adc, CH_IL);
  g_il_raw = raw;
  g_il = IL_K * raw + IL_B;

  raw = AdcSampler_Get(&g_adc, CH_IOUT);
  g_iout_raw = raw;
  g_iout = IOUT_K * raw + IOUT_B;

  bb_control();
}

void HAL_UART_TxCpltCallback(UART_HandleTypeDef *huart)
{
  if (huart->Instance == USART1)
  {
    UartDebug_TxCpltCallback(&g_uart);
  }
}

/* USER CODE END 4 */

void Error_Handler(void)
{
  __disable_irq();
  while (1)
  {
  }
}
